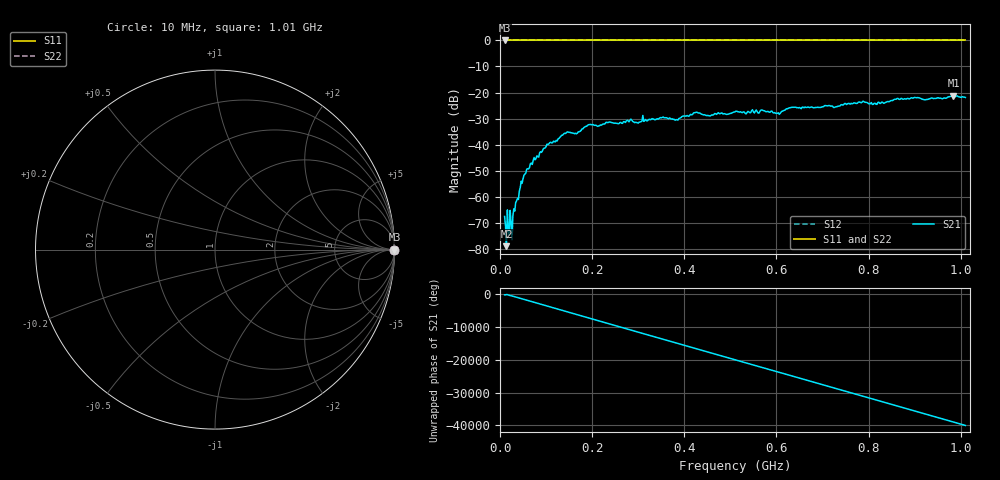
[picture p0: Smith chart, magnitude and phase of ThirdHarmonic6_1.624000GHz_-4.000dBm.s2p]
! 8/16/2025 7:23:50 PM
! C:\ANRITSUVNA\TEMP\TEMP.S2P
! CHANNEL.1
! TR.MEASUREMENT
! RAW.DATA
! RF.CORRECTION.OFF
! AVERAGING.OFF
! IF.BANDWIDTH: 5KHZ
! SWEEPTYPE:  FREQ.SWEEP(Linear)
! Reference Plane Port Info
! PORT:  PORT1  PORT2
! DISTANCE:  0  m  0  m
! TIME:  0  s  0  s
! PHASE.OFFSET:  0  deg.  0  deg.
! LOSS:  0  dB  0  dB
! REF.LOSS:  0  dB  0  dB
! REF.FREQ:  0  Hz  0  Hz
! Power Info
! POWER:  -20  dBm  -20  dBm
! EFF.POWER:  -20  dBm  -20  dBm
! SOURCE.ATTEN:  0  dB  0  dB
! TEST.ATTEN:  0  dB  0  dB
# GHZ S RI R 50.0
! FREQ.GHZ  S11RE  S11IM  S21RE  S21IM  S12RE  S12IM  S22RE  S22IM
!; PortSelection: Port_12
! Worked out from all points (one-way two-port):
!   501 points, 10 MHz to 1.01 GHz, reference 50 ohm
!   highest |S21| = -21.15 dB at 984 MHz (marker M1); lowest = -79.0 dB at 14 MHz (marker M2)
!   lowest |S11| = 0.0 dB at 10 MHz (marker M3)
!   |S11| at or under -10 dB: nowhere
!   |S22| runs from 0.0 to 0.0 dB; largest |S21 - S12| = 1.1
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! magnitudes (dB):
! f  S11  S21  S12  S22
! 10 MHz  0.0  -67.6  0.0  0.0
! 14 MHz  0.0  -79.0  0.0  0.0
! 16 MHz  0.0  -65.1  0.0  0.0
! 20 MHz  0.0  -74.6  0.0  0.0
! 22 MHz  0.0  -65.3  0.0  0.0
! 48 MHz  0.0  -54.8  0.0  0.0
! 70 MHz  0.0  -47.6  0.0  0.0
! 106 MHz  0.0  -39.7  0.0  0.0
! 144 MHz  0.0  -35.4  0.0  0.0
! 178 MHz  0.0  -34.0  0.0  0.0
! 196 MHz  0.0  -32.3  0.0  0.0
! 344 MHz  0.0  -30.2  0.0  0.0
! 382 MHz  0.0  -30.4  0.0  0.0
! 424 MHz  0.0  -27.7  0.0  0.0
! 452 MHz  0.0  -28.8  0.0  0.0
! 510 MHz  0.0  -27.4  0.0  0.0
! 604 MHz  0.0  -27.8  0.0  0.0
! 632 MHz  0.0  -25.7  0.0  0.0
! 678 MHz  0.0  -25.7  0.0  0.0
! 844 MHz  0.0  -23.5  0.0  0.0
! 984 MHz  0.0  -21.1  0.0  0.0
! 1.01 GHz  0.0  -21.9  0.0  0.0
